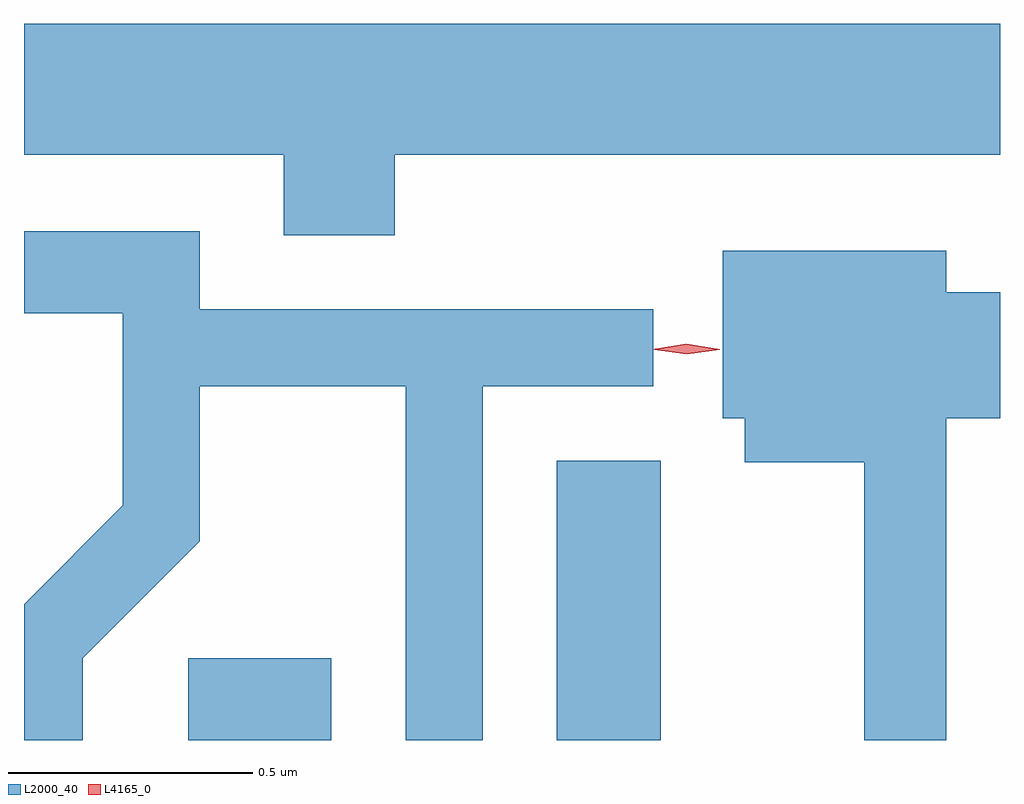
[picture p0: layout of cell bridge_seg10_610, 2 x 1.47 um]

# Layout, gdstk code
import gdstk
lib = gdstk.Library(unit=1e-6, precision=1e-09)
def R(c, l, rs):  # rectangles x0, y0, x1, y1
    for r in rs: c.add(gdstk.rectangle(r[:2], r[2:], *l))
def P(c, l, *ps):  # polygons
    for p in ps: c.add(gdstk.Polygon(p, *l))
L2000_40 = (2000, 40)
L4165_0 = (4165, 0)

bridge_seg10_610 = lib.new_cell('bridge_seg10_610')
R(bridge_seg10_610, L2000_40, [(675.916,2165.996,676.209,2166.164), (676.671,2165.996,676.884,2166.569)])
P(bridge_seg10_610, L2000_40, [(676.339,2167.196),(677.579,2167.196),(677.579,2167.464),(675.579,2167.464),(675.579,2167.196),(676.111,2167.196),(676.111,2167.031),(676.339,2167.031)],
  [(675.699,2166.164),(675.939,2166.404),(675.939,2166.721),(676.361,2166.721),(676.361,2165.996),(676.519,2165.996),(676.519,2166.721),(676.868,2166.721),(676.868,2166.879),(675.939,2166.879),(675.939,2167.039),(675.579,2167.039),(675.579,2166.871),(675.781,2166.871),(675.781,2166.477),(675.579,2166.275),(675.579,2165.996),(675.699,2165.996)],
  [(677.469,2166.656),(677.579,2166.656),(677.579,2166.914),(677.469,2166.914),(677.469,2166.999),(677.011,2166.999),(677.011,2166.656),(677.056,2166.656),(677.056,2166.566),(677.301,2166.566),(677.301,2165.996),(677.469,2165.996)])
P(bridge_seg10_610, L4165_0, [(676.937,2166.787),(676.87,2166.796),(676.869,2166.797),(676.87,2166.797),(676.937,2166.807),(677.005,2166.797),(677.005,2166.797),(677.005,2166.796)],
  [(676.936,2166.788),(676.874,2166.797),(676.873,2166.798),(676.874,2166.798),(676.936,2166.808),(676.999,2166.798),(677,2166.798),(676.999,2166.797)])

lib.write_gds('bridge_seg10_610.gds')
